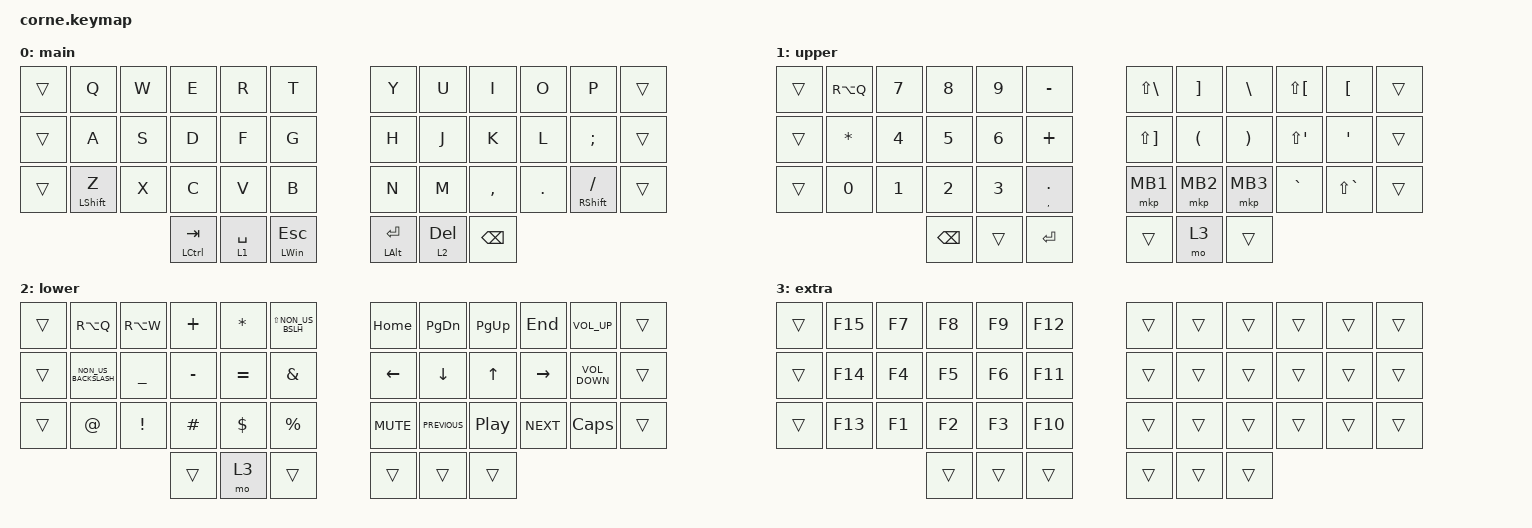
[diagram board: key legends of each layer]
/*
 * Copyright (c) 2020 The ZMK Contributors
 *
 * SPDX-License-Identifier: MIT
 */

#include <behaviors.dtsi>
#include <dt-bindings/zmk/keys.h>
#include <dt-bindings/zmk/pointing.h>

&lt { tapping-term-ms = <150>; };

&mt { tapping-term-ms = <150>; };

/ {
    behaviors {
        // Shift no X (mao esquerda): so segura se a proxima tecla for da mao DIREITA

        lsft: left_shift_positional {
            compatible = "zmk,behavior-hold-tap";
            #binding-cells = <2>;
            flavor = "balanced";
            tapping-term-ms = <200>;
            quick-tap-ms = <175>;
            require-prior-idle-ms = <125>;
            bindings = <&kp>, <&kp>;

            hold-trigger-key-positions = <6 7 8 9 10 11 18 19 20 21 22 23 30 31 32 33 34 35 39 40 41>;
            hold-trigger-on-release;
        };

        // Shift no . (mao direita): so segura se a proxima tecla for da mao ESQUERDA

        rsft: right_shift_positional {
            compatible = "zmk,behavior-hold-tap";
            #binding-cells = <2>;
            flavor = "balanced";
            tapping-term-ms = <200>;
            quick-tap-ms = <175>;
            require-prior-idle-ms = <125>;
            bindings = <&kp>, <&kp>;

            hold-trigger-key-positions = <0 1 2 3 4 5 12 13 14 15 16 17 24 25 26 27 28 29 36 37 38>;
            hold-trigger-on-release;
        };
    };

    combos { compatible = "zmk,combos"; };

    keymap {
        compatible = "zmk,keymap";

        main {
            // -----------------------------------------------------------------------------------------
            // |  TAB |  Q  |  W  |  E  |  R  |  T  |   |  Y  |  U   |  I  |  O  |  P  | BSPC |
            // | CTRL |  A  |  S  |  D  |  F  |  G  |   |  H  |  J   |  K  |  L  |  ;  |  '   |
            // | SHFT |  Z  |  X  |  C  |  V  |  B  |   |  N  |  M   |  ,  |  .  |  /  | ESC  |
            //                    | GUI | LWR | SPC |   | ENT | RSE  | ALT |

            bindings = <
&trans  &kp Q               &kp W  &kp E          &kp R        &kp T               &kp Y               &kp U         &kp I          &kp O    &kp P                    &trans
&trans  &kp A               &kp S  &kp D          &kp F        &kp G               &kp H               &kp J         &kp K          &kp L    &kp SEMI                 &trans
&trans  &lsft LEFT_SHIFT Z  &kp X  &kp C          &kp V        &kp B               &kp N               &kp M         &kp COMMA      &kp DOT  &rsft RIGHT_SHIFT SLASH  &trans
                                   &mt LCTRL TAB  &lt 1 SPACE  &mt LEFT_WIN ESC    &mt LEFT_ALT ENTER  &lt 2 DELETE  &kp BACKSPACE
            >;
        };

        upper {
            bindings = <
&trans  &kp RA(Q)     &kp NUMBER_7  &kp NUMBER_8   &kp NUMBER_9  &kp MINUS        &kp LS(BACKSLASH)      &kp RIGHT_BRACKET     &kp BACKSLASH          &kp LS(LEFT_BRACKET)  &kp LEFT_BRACKET  &trans
&trans  &kp ASTERISK  &kp NUMBER_4  &kp NUMBER_5   &kp NUMBER_6  &kp PLUS         &kp LS(RIGHT_BRACKET)  &kp LEFT_PARENTHESIS  &kp RIGHT_PARENTHESIS  &kp LS(APOSTROPHE)    &kp APOSTROPHE    &trans
&trans  &kp NUMBER_0  &kp NUMBER_1  &kp NUMBER_2   &kp NUMBER_3  &mt COMMA DOT    &mkp MB1               &mkp MB2              &mkp MB3               &kp GRAVE             &kp LS(GRAVE)     &trans
                                    &kp BACKSPACE  &trans        &kp ENTER        &trans                 &mo 3                 &trans
            >;
        };

        lower {
            bindings = <
&trans  &kp RA(Q)             &kp RA(W)        &kp PLUS   &kp ASTERISK  &kp LS(NON_US_BSLH)    &kp HOME        &kp PAGE_DOWN   &kp PAGE_UP       &kp END          &kp C_VOLUME_UP    &trans
&trans  &kp NON_US_BACKSLASH  &kp UNDERSCORE   &kp MINUS  &kp EQUAL     &kp AMPERSAND          &kp LEFT_ARROW  &kp DOWN_ARROW  &kp UP_ARROW      &kp RIGHT_ARROW  &kp C_VOLUME_DOWN  &trans
&trans  &kp AT_SIGN           &kp EXCLAMATION  &kp HASH   &kp DOLLAR    &kp PERCENT            &kp C_MUTE      &kp C_PREVIOUS  &kp C_PLAY_PAUSE  &kp C_NEXT       &kp CAPS           &trans
                                               &trans     &mo 3         &trans                 &trans          &trans          &trans
            >;
        };

        extra {
            bindings = <
&trans  &kp F15  &kp F7  &kp F8  &kp F9  &kp F12    &trans  &trans  &trans  &trans  &trans  &trans
&trans  &kp F14  &kp F4  &kp F5  &kp F6  &kp F11    &trans  &trans  &trans  &trans  &trans  &trans
&trans  &kp F13  &kp F1  &kp F2  &kp F3  &kp F10    &trans  &trans  &trans  &trans  &trans  &trans
                         &trans  &trans  &trans     &trans  &trans  &trans
            >;
        };
    };
};
